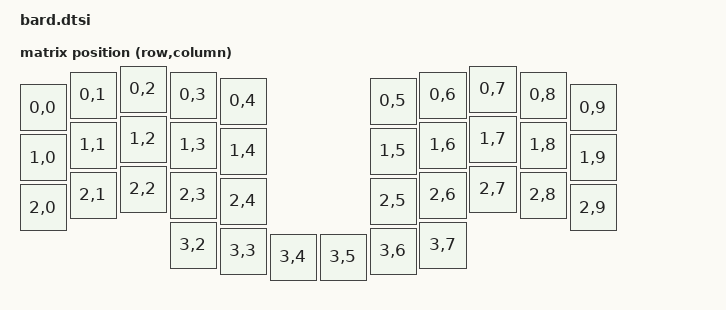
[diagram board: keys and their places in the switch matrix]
#include <dt-bindings/zmk/matrix_transform.h> // Put this with the other includes at the top of your dtsi
#include <physical_layouts.dtsi>

/ {
    kscan0: kscan0 {
        compatible = "zmk,kscan-gpio-matrix";
        diode-direction = "col2row";
        wakeup-source;
    };
};

/ {
    default_transform: keymap_transform0 {

        compatible = "zmk,matrix-transform";
        columns = <10>;
        rows = <4>;

    // | SW1  | SW4  | SW7  | SW11 | SW15 |   | SW19 | SW23 | SW27 | SW31 | SW34 |
    // | SW2  | SW5  | SW8  | SW12 | SW16 |   | SW20 | SW24 | SW28 | SW32 | SW35 |
    // | SW3  | SW6  | SW9  | SW13 | SW17 |   | SW21 | SW25 | SW29 | SW33 | SW36 |
    //               | SW10 | SW14 | SW18 |   | SW22 | SW26 | SW30 |
        map = <
    RC(0,0) RC(0,1) RC(0,2) RC(0,3) RC(0,4)   RC(0,5) RC(0,6) RC(0,7) RC(0,8) RC(0,9)
    RC(1,0) RC(1,1) RC(1,2) RC(1,3) RC(1,4)   RC(1,5) RC(1,6) RC(1,7) RC(1,8) RC(1,9)
    RC(2,0) RC(2,1) RC(2,2) RC(2,3) RC(2,4)   RC(2,5) RC(2,6) RC(2,7) RC(2,8) RC(2,9)
                    RC(3,2) RC(3,3) RC(3,4)   RC(3,5) RC(3,6) RC(3,7)
        >;
    };
};

// Physical layout node
/ {
    physical_layout0: physical_layout_0 {
        compatible = "zmk,physical-layout";
        display-name = "Default";

        kscan = <&kscan0>;
        transform = <&matrix_transform0>;

        keys  //                     w   h    x    y     rot    rx    ry
            = <&key_physical_attrs 100 100    0   37       0     0     0>
            , <&key_physical_attrs 100 100  100   12       0     0     0>
            , <&key_physical_attrs 100 100  200    0       0     0     0>
            , <&key_physical_attrs 100 100  300   12       0     0     0>
            , <&key_physical_attrs 100 100  400   24       0     0     0>
            , <&key_physical_attrs 100 100  700   24       0     0     0>
            , <&key_physical_attrs 100 100  800   12       0     0     0>
            , <&key_physical_attrs 100 100  900    0       0     0     0>
            , <&key_physical_attrs 100 100 1000   12       0     0     0>
            , <&key_physical_attrs 100 100 1100   37       0     0     0>
            , <&key_physical_attrs 100 100    0  137       0     0     0>
            , <&key_physical_attrs 100 100  100  112       0     0     0>
            , <&key_physical_attrs 100 100  200  100       0     0     0>
            , <&key_physical_attrs 100 100  300  112       0     0     0>
            , <&key_physical_attrs 100 100  400  124       0     0     0>
            , <&key_physical_attrs 100 100  700  124       0     0     0>
            , <&key_physical_attrs 100 100  800  112       0     0     0>
            , <&key_physical_attrs 100 100  900  100       0     0     0>
            , <&key_physical_attrs 100 100 1000  112       0     0     0>
            , <&key_physical_attrs 100 100 1100  137       0     0     0>
            , <&key_physical_attrs 100 100    0  237       0     0     0>
            , <&key_physical_attrs 100 100  100  212       0     0     0>
            , <&key_physical_attrs 100 100  200  200       0     0     0>
            , <&key_physical_attrs 100 100  300  212       0     0     0>
            , <&key_physical_attrs 100 100  400  224       0     0     0>
            , <&key_physical_attrs 100 100  700  224       0     0     0>
            , <&key_physical_attrs 100 100  800  212       0     0     0>
            , <&key_physical_attrs 100 100  900  200       0     0     0>
            , <&key_physical_attrs 100 100 1000  212       0     0     0>
            , <&key_physical_attrs 100 100 1100  237       0     0     0>
            , <&key_physical_attrs 100 100  300  312       0     0     0>
            , <&key_physical_attrs 100 100  400  324       0     0     0>
            , <&key_physical_attrs 100 100  500  336       0     0     0>
            , <&key_physical_attrs 100 100  600  336       0     0     0>
            , <&key_physical_attrs 100 100  700  324       0     0     0>
            , <&key_physical_attrs 100 100  800  312       0     0     0>
            ;
    };
};

/ {
    chosen {
        zmk,physical-layout = &physical_layout0;
        // Other chosen items
    };
};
